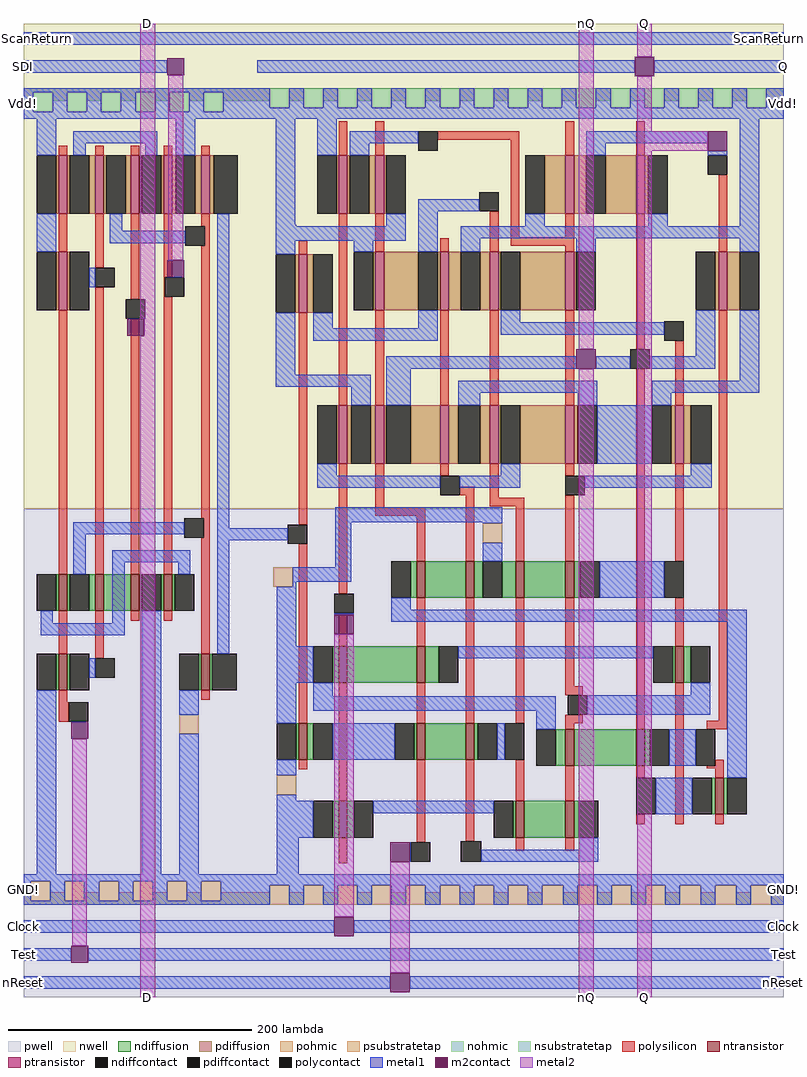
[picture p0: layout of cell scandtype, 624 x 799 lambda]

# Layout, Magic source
magic
tech c035u
<< nwell >>
rect 0 401 624 799
<< pwell >>
rect 0 0 624 401
<< polysilicon >>
rect 29 691 36 699
rect 59 691 66 699
rect 88 691 95 699
rect 115 691 122 699
rect 146 691 153 699
rect 259 691 266 719
rect 289 691 296 719
rect 340 704 407 711
rect 29 612 36 643
rect 59 599 66 643
rect 29 347 36 564
rect 59 347 66 583
rect 88 573 95 643
rect 115 591 122 643
rect 146 633 153 643
rect 149 617 153 633
rect 115 575 116 591
rect 88 347 95 557
rect 115 347 122 575
rect 146 393 153 617
rect 226 610 233 621
rect 148 377 153 393
rect 226 388 233 562
rect 259 486 266 643
rect 289 612 296 643
rect 342 612 349 623
rect 383 612 390 645
rect 400 624 407 704
rect 445 691 452 719
rect 503 691 510 719
rect 445 624 452 643
rect 400 617 452 624
rect 445 612 452 617
rect 289 486 296 564
rect 342 486 349 564
rect 383 486 390 564
rect 445 486 452 564
rect 503 532 510 643
rect 571 612 578 675
rect 29 282 36 317
rect 59 278 66 317
rect 88 309 95 317
rect 115 309 122 317
rect 146 282 153 377
rect 29 242 36 252
rect 146 244 153 252
rect 29 226 37 242
rect 226 225 233 372
rect 259 331 266 438
rect 289 402 296 438
rect 342 428 349 438
rect 358 412 370 419
rect 289 395 330 402
rect 323 358 330 395
rect 363 358 370 412
rect 383 410 390 438
rect 445 428 452 438
rect 383 403 411 410
rect 404 358 411 403
rect 445 358 452 412
rect 259 288 266 315
rect 323 288 330 328
rect 226 187 233 195
rect 259 161 266 258
rect 323 225 330 258
rect 363 225 370 328
rect 404 225 411 328
rect 445 255 452 328
rect 445 248 459 255
rect 445 225 459 232
rect 445 220 452 225
rect 503 220 510 516
rect 535 486 542 539
rect 535 358 542 438
rect 535 288 542 328
rect 259 110 266 131
rect 323 127 330 195
rect 363 128 370 195
rect 404 161 411 195
rect 445 161 452 190
rect 503 180 510 190
rect 503 142 510 150
rect 535 142 542 258
rect 571 227 578 564
rect 561 220 578 227
rect 568 190 575 195
rect 561 188 575 190
rect 568 180 575 188
rect 568 142 575 150
rect 404 120 411 131
rect 445 120 452 131
<< ndiffusion >>
rect 27 317 29 347
rect 36 317 38 347
rect 54 317 59 347
rect 66 317 88 347
rect 95 317 97 347
rect 113 317 115 347
rect 122 317 124 347
rect 27 252 29 282
rect 36 252 38 282
rect 144 252 146 282
rect 153 252 155 282
rect 318 328 323 358
rect 330 328 363 358
rect 370 328 377 358
rect 393 328 404 358
rect 411 328 445 358
rect 452 328 457 358
rect 254 258 259 288
rect 266 258 323 288
rect 330 258 341 288
rect 224 195 226 225
rect 233 195 238 225
rect 321 195 323 225
rect 330 195 363 225
rect 370 195 373 225
rect 533 258 535 288
rect 542 258 548 288
rect 254 131 259 161
rect 266 131 271 161
rect 437 190 445 220
rect 452 190 503 220
rect 510 190 514 220
rect 402 131 404 161
rect 411 131 445 161
rect 452 131 456 161
rect 565 150 568 180
rect 575 150 578 180
<< pdiffusion >>
rect 27 643 29 691
rect 36 643 38 691
rect 54 643 59 691
rect 66 643 68 691
rect 84 643 88 691
rect 95 643 97 691
rect 113 643 115 691
rect 122 643 125 691
rect 141 643 146 691
rect 153 643 156 691
rect 257 643 259 691
rect 266 643 268 691
rect 284 643 289 691
rect 296 643 298 691
rect 27 564 29 612
rect 36 564 38 612
rect 223 562 226 610
rect 233 562 238 610
rect 428 643 445 691
rect 452 643 462 691
rect 478 643 503 691
rect 510 643 513 691
rect 287 564 289 612
rect 296 564 324 612
rect 340 564 342 612
rect 349 564 359 612
rect 375 564 383 612
rect 390 564 392 612
rect 408 564 445 612
rect 452 564 454 612
rect 568 564 571 612
rect 578 564 588 612
rect 257 438 259 486
rect 266 438 269 486
rect 285 438 289 486
rect 296 438 298 486
rect 318 438 342 486
rect 349 438 357 486
rect 375 438 383 486
rect 390 438 392 486
rect 408 438 445 486
rect 452 438 455 486
rect 532 438 535 486
rect 542 438 548 486
<< pohmic >>
rect 0 79 6 86
rect 22 79 34 86
rect 50 79 62 86
rect 78 79 90 86
rect 106 79 118 86
rect 134 79 146 86
rect 162 79 202 86
rect 0 76 202 79
rect 218 76 230 86
rect 246 76 258 86
rect 274 76 286 86
rect 302 76 314 86
rect 330 76 342 86
rect 358 76 370 86
rect 386 76 398 86
rect 414 76 426 86
rect 443 76 455 86
rect 471 76 483 86
rect 499 76 511 86
rect 527 76 539 86
rect 556 76 568 86
rect 585 76 597 86
rect 614 76 624 86
<< nohmic >>
rect 0 743 202 746
rect 0 736 8 743
rect 24 736 36 743
rect 52 736 64 743
rect 80 736 92 743
rect 108 736 120 743
rect 136 736 148 743
rect 164 736 202 743
rect 218 736 230 746
rect 246 736 258 746
rect 274 736 286 746
rect 302 736 314 746
rect 330 736 342 746
rect 358 736 370 746
rect 386 736 398 746
rect 414 736 426 746
rect 442 736 454 746
rect 470 736 482 746
rect 498 736 510 746
rect 526 736 538 746
rect 554 736 566 746
rect 582 736 594 746
rect 610 736 624 746
<< ntransistor >>
rect 29 317 36 347
rect 59 317 66 347
rect 88 317 95 347
rect 115 317 122 347
rect 29 252 36 282
rect 146 252 153 282
rect 323 328 330 358
rect 363 328 370 358
rect 404 328 411 358
rect 445 328 452 358
rect 259 258 266 288
rect 323 258 330 288
rect 226 195 233 225
rect 323 195 330 225
rect 363 195 370 225
rect 535 258 542 288
rect 259 131 266 161
rect 445 190 452 220
rect 503 190 510 220
rect 404 131 411 161
rect 445 131 452 161
rect 568 150 575 180
<< ptransistor >>
rect 29 643 36 691
rect 59 643 66 691
rect 88 643 95 691
rect 115 643 122 691
rect 146 643 153 691
rect 259 643 266 691
rect 289 643 296 691
rect 29 564 36 612
rect 226 562 233 610
rect 445 643 452 691
rect 503 643 510 691
rect 289 564 296 612
rect 342 564 349 612
rect 383 564 390 612
rect 445 564 452 612
rect 571 564 578 612
rect 259 438 266 486
rect 289 438 296 486
rect 342 438 349 486
rect 383 438 390 486
rect 445 438 452 486
rect 535 438 542 486
<< polycontact >>
rect 324 695 340 711
rect 374 645 390 661
rect 59 583 75 599
rect 133 617 149 633
rect 116 575 132 591
rect 84 557 100 573
rect 132 377 148 393
rect 562 675 578 691
rect 526 539 542 555
rect 498 516 514 532
rect 217 372 233 388
rect 59 262 75 278
rect 37 226 53 242
rect 342 412 358 428
rect 445 412 461 428
rect 255 315 271 331
rect 447 232 463 248
rect 395 195 411 225
rect 526 328 542 358
rect 503 150 519 180
rect 552 190 568 220
rect 318 111 334 127
rect 359 111 376 128
<< ndiffcontact >>
rect 11 317 27 347
rect 38 317 54 347
rect 97 317 113 347
rect 124 317 140 347
rect 11 252 27 282
rect 38 252 54 282
rect 128 252 144 282
rect 155 252 175 282
rect 302 328 318 358
rect 377 328 393 358
rect 457 328 473 358
rect 238 258 254 288
rect 341 258 357 288
rect 208 195 224 225
rect 238 195 254 225
rect 305 195 321 225
rect 373 195 389 225
rect 517 258 533 288
rect 548 258 564 288
rect 238 131 254 161
rect 271 131 287 161
rect 421 190 437 220
rect 514 190 530 220
rect 386 131 402 161
rect 456 131 472 161
rect 549 150 565 180
rect 578 150 594 180
<< pdiffcontact >>
rect 11 643 27 691
rect 38 643 54 691
rect 68 643 84 691
rect 97 643 113 691
rect 125 643 141 691
rect 156 643 176 691
rect 241 643 257 691
rect 268 643 284 691
rect 298 643 314 691
rect 11 564 27 612
rect 38 564 54 612
rect 207 562 223 610
rect 238 562 254 610
rect 412 643 428 691
rect 462 643 478 691
rect 513 643 529 691
rect 271 564 287 612
rect 324 564 340 612
rect 359 564 375 612
rect 392 564 408 612
rect 454 564 470 612
rect 552 564 568 612
rect 588 564 604 612
rect 241 438 257 486
rect 269 438 285 486
rect 298 438 318 486
rect 357 438 375 486
rect 392 438 408 486
rect 455 438 471 486
rect 516 438 532 486
rect 548 438 565 486
<< psubstratetap >>
rect 205 337 221 353
rect 128 216 144 232
rect 377 373 393 389
rect 208 166 224 182
rect 6 79 22 95
rect 34 79 50 95
rect 62 79 78 95
rect 90 79 106 95
rect 118 79 134 95
rect 146 79 162 95
rect 202 76 218 92
rect 230 76 246 92
rect 258 76 274 92
rect 286 76 302 92
rect 314 76 330 92
rect 342 76 358 92
rect 370 76 386 92
rect 398 76 414 92
rect 426 76 443 92
rect 455 76 471 92
rect 483 76 499 92
rect 511 76 527 92
rect 539 76 556 92
rect 568 76 585 92
rect 597 76 614 92
<< nsubstratetap >>
rect 8 727 24 743
rect 36 727 52 743
rect 64 727 80 743
rect 92 727 108 743
rect 120 727 136 743
rect 148 727 164 743
rect 202 730 218 746
rect 230 730 246 746
rect 258 730 274 746
rect 286 730 302 746
rect 314 730 330 746
rect 342 730 358 746
rect 370 730 386 746
rect 398 730 414 746
rect 426 730 442 746
rect 454 730 470 746
rect 482 730 498 746
rect 510 730 526 746
rect 538 730 554 746
rect 566 730 582 746
rect 594 730 610 746
<< metal1 >>
rect 0 782 624 792
rect 0 759 118 769
rect 192 759 502 769
rect 518 759 624 769
rect 0 743 202 746
rect 0 727 8 743
rect 24 727 36 743
rect 52 727 64 743
rect 80 727 92 743
rect 108 727 120 743
rect 136 727 148 743
rect 164 730 202 743
rect 218 730 230 746
rect 246 730 258 746
rect 274 730 286 746
rect 302 730 314 746
rect 330 730 342 746
rect 358 730 370 746
rect 386 730 398 746
rect 414 730 426 746
rect 442 730 454 746
rect 470 730 482 746
rect 498 730 510 746
rect 526 730 538 746
rect 554 730 566 746
rect 582 730 594 746
rect 610 730 624 746
rect 164 727 624 730
rect 0 721 624 727
rect 11 691 27 721
rect 41 701 110 711
rect 41 691 51 701
rect 100 691 110 701
rect 125 691 141 721
rect 11 612 27 643
rect 71 629 81 643
rect 71 619 133 629
rect 54 583 59 599
rect 41 380 132 390
rect 41 347 51 380
rect 159 385 169 643
rect 207 634 223 721
rect 241 691 257 721
rect 268 701 324 711
rect 268 691 284 701
rect 462 701 562 711
rect 462 691 478 701
rect 562 691 578 695
rect 207 633 224 634
rect 298 633 314 643
rect 207 621 314 633
rect 324 645 374 655
rect 207 610 223 621
rect 271 612 287 621
rect 207 511 223 562
rect 324 612 340 645
rect 412 633 428 643
rect 513 633 529 643
rect 588 633 604 721
rect 359 623 604 633
rect 359 612 375 623
rect 454 612 470 623
rect 588 612 604 623
rect 238 549 254 562
rect 324 549 340 564
rect 238 539 340 549
rect 392 554 408 564
rect 392 544 526 554
rect 298 516 454 526
rect 470 516 498 526
rect 552 526 568 564
rect 514 516 568 526
rect 207 501 285 511
rect 269 486 285 501
rect 298 486 318 516
rect 588 506 604 564
rect 357 496 471 506
rect 357 486 375 496
rect 455 486 471 496
rect 516 496 604 506
rect 516 486 532 496
rect 471 438 516 486
rect 241 428 257 438
rect 392 428 408 438
rect 548 428 565 438
rect 241 418 342 428
rect 358 418 408 428
rect 461 418 565 428
rect 256 390 393 402
rect 159 375 217 385
rect 73 357 137 367
rect 14 307 24 317
rect 73 307 83 357
rect 127 347 137 357
rect 14 297 83 307
rect 54 262 59 278
rect 11 101 27 252
rect 97 101 113 317
rect 159 282 169 375
rect 256 353 269 390
rect 377 389 393 390
rect 377 358 393 373
rect 221 341 269 353
rect 221 337 224 341
rect 208 288 224 337
rect 255 314 271 315
rect 473 328 526 358
rect 302 318 318 328
rect 302 308 594 318
rect 208 258 238 288
rect 357 278 517 288
rect 128 232 144 252
rect 128 101 144 216
rect 208 225 224 258
rect 238 247 254 258
rect 548 248 564 258
rect 238 235 437 247
rect 254 195 305 225
rect 389 195 395 225
rect 421 220 437 235
rect 463 232 564 248
rect 208 182 224 195
rect 530 190 552 220
rect 578 180 594 308
rect 208 161 224 166
rect 208 131 238 161
rect 287 151 386 161
rect 519 150 549 180
rect 208 101 226 131
rect 317 111 318 127
rect 456 121 472 131
rect 376 111 472 121
rect 0 95 624 101
rect 0 79 6 95
rect 22 79 34 95
rect 50 79 62 95
rect 78 79 90 95
rect 106 79 118 95
rect 134 79 146 95
rect 162 92 624 95
rect 162 79 202 92
rect 0 76 202 79
rect 218 76 230 92
rect 246 76 258 92
rect 274 76 286 92
rect 302 76 314 92
rect 330 76 342 92
rect 358 76 370 92
rect 386 76 398 92
rect 414 76 426 92
rect 443 76 455 92
rect 471 76 483 92
rect 499 76 511 92
rect 527 76 539 92
rect 556 76 568 92
rect 585 76 597 92
rect 614 76 624 92
rect 0 53 255 63
rect 271 53 624 63
rect 0 30 39 40
rect 53 30 624 40
rect 0 7 301 17
rect 317 7 624 17
<< m2contact >>
rect 118 757 132 771
rect 502 756 518 772
rect 118 591 132 605
rect 85 543 99 557
rect 562 695 578 711
rect 454 516 470 532
rect 39 212 53 226
rect 255 298 271 314
rect 301 111 317 127
rect 255 50 271 66
rect 39 28 53 42
rect 301 4 317 20
<< metal2 >>
rect 96 557 108 799
rect 119 605 131 757
rect 99 543 108 557
rect 40 42 52 212
rect 96 0 108 543
rect 456 532 468 799
rect 504 772 516 799
rect 504 711 516 756
rect 504 695 562 711
rect 255 66 271 298
rect 301 20 317 111
rect 456 0 468 516
rect 504 0 516 695
<< labels >>
rlabel metal1 0 782 0 792 4 ScanReturn
rlabel metal1 0 759 0 769 3 SDI
rlabel metal2 96 799 108 799 5 D
rlabel metal1 0 76 0 101 1 GND!
rlabel metal1 0 7 0 17 2 nReset
rlabel metal1 0 30 0 40 3 Test
rlabel metal1 0 53 0 63 3 Clock
rlabel metal2 96 0 108 0 1 D
rlabel metal1 0 721 0 746 3 Vdd!
rlabel metal1 624 782 624 792 7 ScanReturn
rlabel metal1 624 759 624 769 7 Q
rlabel metal1 624 76 624 101 7 GND!
rlabel metal1 624 53 624 63 7 Clock
rlabel metal1 624 30 624 40 7 Test
rlabel metal1 624 7 624 17 7 nReset
rlabel metal1 624 721 624 746 7 Vdd!
rlabel metal2 456 0 468 0 1 nQ
rlabel metal2 504 0 516 0 1 Q
rlabel metal2 504 799 516 799 5 Q
rlabel metal2 456 799 468 799 5 nQ
<< end >>
